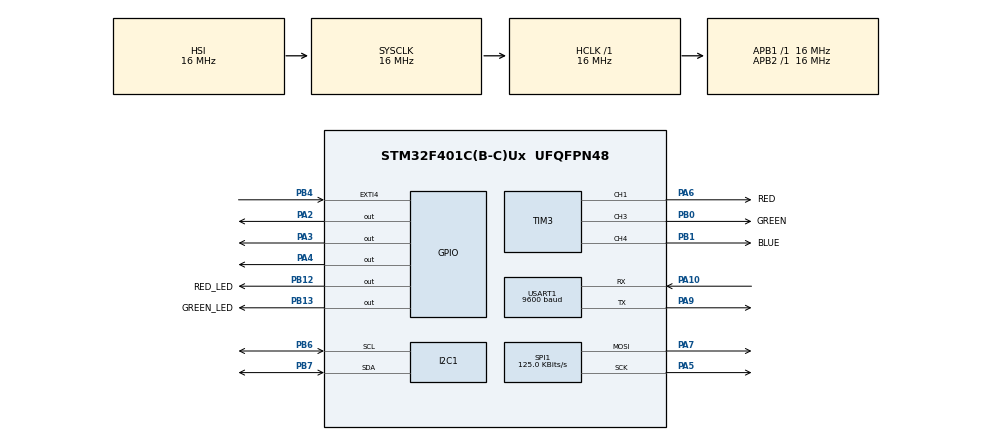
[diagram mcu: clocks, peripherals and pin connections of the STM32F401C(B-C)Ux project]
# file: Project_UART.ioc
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Dma.I2C1_RX.1.Direction=DMA_PERIPH_TO_MEMORY
Dma.I2C1_RX.1.FIFOMode=DMA_FIFOMODE_DISABLE
Dma.I2C1_RX.1.Instance=DMA1_Stream0
Dma.I2C1_RX.1.MemDataAlignment=DMA_MDATAALIGN_BYTE
Dma.I2C1_RX.1.MemInc=DMA_MINC_ENABLE
Dma.I2C1_RX.1.Mode=DMA_NORMAL
Dma.I2C1_RX.1.PeriphDataAlignment=DMA_PDATAALIGN_BYTE
Dma.I2C1_RX.1.PeriphInc=DMA_PINC_DISABLE
Dma.I2C1_RX.1.Priority=DMA_PRIORITY_LOW
Dma.Request0=USART1_RX
Dma.Request1=I2C1_RX
Dma.USART1_RX.0.Direction=DMA_PERIPH_TO_MEMORY
Dma.USART1_RX.0.FIFOMode=DMA_FIFOMODE_DISABLE
Dma.USART1_RX.0.Instance=DMA2_Stream2
Dma.USART1_RX.0.MemDataAlignment=DMA_MDATAALIGN_BYTE
Dma.USART1_RX.0.MemInc=DMA_MINC_ENABLE
Dma.USART1_RX.0.Mode=DMA_NORMAL
Dma.USART1_RX.0.PeriphDataAlignment=DMA_PDATAALIGN_BYTE
Dma.USART1_RX.0.PeriphInc=DMA_PINC_DISABLE
Dma.USART1_RX.0.Priority=DMA_PRIORITY_LOW
Mcu.Family=STM32F4
Mcu.Name=STM32F401C(B-C)Ux
Mcu.Package=UFQFPN48
NVIC.DMA1_Stream0_IRQn=true\:0\:0\:false\:false\:true\:false\:true\:true
NVIC.DMA2_Stream2_IRQn=true\:0\:0\:false\:false\:true\:false\:true\:true
NVIC.EXTI4_IRQn=true\:0\:0\:false\:false\:true\:true\:true\:true
NVIC.I2C1_ER_IRQn=true\:0\:0\:false\:false\:true\:true\:true\:true
NVIC.I2C1_EV_IRQn=true\:0\:0\:false\:false\:true\:true\:true\:true
NVIC.PriorityGroup=NVIC_PRIORITYGROUP_4
NVIC.TIM4_IRQn=true\:0\:0\:false\:false\:true\:true\:true\:true
NVIC.USART1_IRQn=true\:0\:0\:false\:false\:true\:true\:true\:true
PA10.Mode=Asynchronous
PA10.Signal=USART1_RX
PA13.Mode=Serial_Wire
PA13.Signal=SYS_JTMS-SWDIO
PA14.Mode=Serial_Wire
PA14.Signal=SYS_JTCK-SWCLK
PA2.Signal=GPIO_Output
PA3.Signal=GPIO_Output
PA4.GPIO_PuPd=GPIO_NOPULL
PA4.Signal=GPIO_Output
PA5.Mode=TX_Only_Simplex_Unidirect_Master
PA5.Signal=SPI1_SCK
PA6.GPIO_Label=RED
PA6.Signal=S_TIM3_CH1
PA7.Mode=TX_Only_Simplex_Unidirect_Master
PA7.Signal=SPI1_MOSI
PA9.Mode=Asynchronous
PA9.Signal=USART1_TX
PB0.GPIO_Label=GREEN
PB0.Signal=S_TIM3_CH3
PB1.GPIO_Label=BLUE
PB1.Signal=S_TIM3_CH4
PB12.GPIO_Label=RED_LED
PB12.Signal=GPIO_Output
PB13.GPIO_Label=GREEN_LED
PB13.Signal=GPIO_Output
PB4.GPIO_ModeDefaultEXTI=GPIO_MODE_IT_FALLING
PB4.GPIO_PuPd=GPIO_PULLUP
PB4.Signal=GPXTI4
PB6.Mode=I2C
PB6.Signal=I2C1_SCL
PB7.Mode=I2C
PB7.Signal=I2C1_SDA
ProjectManager.HeapSize=0x200
ProjectManager.StackSize=0x400
ProjectManager.TargetToolchain=CMake
RCC.AHBFreq_Value=16000000
RCC.APB1Freq_Value=16000000
RCC.APB2Freq_Value=16000000
RCC.CortexFreq_Value=16000000
RCC.HSE_VALUE=25000000
RCC.HSI_VALUE=16000000
RCC.LSE_VALUE=32768
RCC.SYSCLKFreq_VALUE=16000000
RCC.VCOOutputFreq_Value=192000000
SH.S_TIM3_CH1.0=TIM3_CH1,PWM Generation1 CH1
SH.S_TIM3_CH3.0=TIM3_CH3,PWM Generation3 CH3
SH.S_TIM3_CH4.0=TIM3_CH4,PWM Generation4 CH4
SPI1.BaudRatePrescaler=SPI_BAUDRATEPRESCALER_128
SPI1.CLKPhase=SPI_PHASE_1EDGE
SPI1.CalculateBaudRate=125.0 KBits/s
SPI1.Direction=SPI_DIRECTION_2LINES
SPI1.Mode=SPI_MODE_MASTER
SPI1.VirtualType=VM_MASTER
TIM3.Channel-PWM\ Generation1\ CH1=TIM_CHANNEL_1
TIM3.Channel-PWM\ Generation3\ CH3=TIM_CHANNEL_3
TIM3.Channel-PWM\ Generation4\ CH4=TIM_CHANNEL_4
TIM4.Period=200
TIM4.Prescaler=8399
USART1.BaudRate=9600
USART1.VirtualMode=VM_ASYNC
VP_TIM3_VS_ClockSourceINT.Mode=Internal
VP_TIM4_VS_ClockSourceINT.Mode=Internal
board=custom

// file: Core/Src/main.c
/* USER CODE BEGIN Header */
/**
  ******************************************************************************
  * @file           : main.c
  * @brief          : Main program body
  ******************************************************************************
  * @attention
  *
  * Copyright (c) 2026 STMicroelectronics.
  * All rights reserved.
  *
  * This software is licensed under terms that can be found in the LICENSE file
  * in the root directory of this software component.
  * If no LICENSE file comes with this software, it is provided AS-IS.
  *
  ******************************************************************************
  */
/* USER CODE END Header */
#include "main.h"

/* USER CODE BEGIN Includes */
#include <stdio.h>
#include <string.h>

#include "u8g2.h"
#include "OLED_animations.h"
#include "bmp180.h"
/* USER CODE END Includes */

I2C_HandleTypeDef hi2c1;
DMA_HandleTypeDef hdma_i2c1_rx;

SPI_HandleTypeDef hspi1;

TIM_HandleTypeDef htim3;
TIM_HandleTypeDef htim4;

UART_HandleTypeDef huart1;
DMA_HandleTypeDef hdma_usart1_rx;

/* USER CODE BEGIN PV */
u8g2_t u8g2;
BMP180_t bmp180;

char rx_data[32];
/* USER CODE END PV */

void SystemClock_Config(void);
static void MX_GPIO_Init(void);
static void MX_DMA_Init(void);
static void MX_SPI1_Init(void);
static void MX_USART1_UART_Init(void);
static void MX_TIM3_Init(void);
static void MX_TIM4_Init(void);
static void MX_I2C1_Init(void);
/* USER CODE BEGIN PFP */
uint8_t u8x8_byte_stm32_hw_spi(u8x8_t *u8x8, uint8_t msg, uint8_t arg_int, void *arg_ptr);
uint8_t u8x8_gpio_and_delay_stm32(u8x8_t *u8x8, uint8_t msg, uint8_t arg_int, void *arg_ptr);
/* USER CODE END PFP */

/* USER CODE BEGIN 0 */
uint8_t button_locked = 0;
int8_t heart_scale = 2;
int8_t what_to_draw = 1;
uint32_t last_oled_tick = 0;
uint32_t last_led_tick = 0;
uint32_t red_pwm_val = 0;
uint32_t green_pwm_val = 0;
uint32_t blue_pwm_val = 0;
uint32_t last_bmp_read = 0;

uint8_t last_rx_byte = 0;
uint16_t last_rx_size = 0;

char custom_text[32] = "STM32F401CCU6!";
int color = 0; /// R = 0; G = 1; B = 2
/* USER CODE END 0 */

int main(void)
{

  /* MCU Configuration--------------------------------------------------------*/

  /* Reset of all peripherals, Initializes the Flash interface and the Systick. */
  HAL_Init();

  /* Configure the system clock */
  SystemClock_Config();

  /* Initialize all configured peripherals */
  MX_GPIO_Init();
  MX_DMA_Init();
  MX_SPI1_Init();
  MX_USART1_UART_Init();
  MX_TIM3_Init();
  MX_TIM4_Init();
  MX_I2C1_Init();
  /* USER CODE BEGIN 2 */

  HAL_TIM_PWM_Start(&htim3, TIM_CHANNEL_1); // Red
  HAL_TIM_PWM_Start(&htim3, TIM_CHANNEL_3); // Green
  HAL_TIM_PWM_Start(&htim3, TIM_CHANNEL_4); // Blue

  if (BMP180_Init(&bmp180, &hi2c1, 101600) != 0)
  {
    Error_Handler();
  }

  HAL_GPIO_WritePin(GPIOA, GPIO_PIN_2, GPIO_PIN_RESET);
  HAL_Delay(100);
  HAL_GPIO_WritePin(GPIOA, GPIO_PIN_2, GPIO_PIN_SET);
  HAL_Delay(100);

  u8g2_Setup_ssd1306_128x64_noname_f(&u8g2, U8G2_R0, u8x8_byte_stm32_hw_spi, u8x8_gpio_and_delay_stm32);
  u8g2_InitDisplay(&u8g2);
  u8g2_SetPowerSave(&u8g2, 0);

  HAL_GPIO_WritePin(GREEN_LED_GPIO_Port, GREEN_LED_Pin, GPIO_PIN_SET); // GREEN = 1

  /* USER CODE END 2 */

  /* Infinite loop */
  while (1)
  {

    /* USER CODE BEGIN 3 */

    if (__HAL_UART_GET_FLAG(&huart1, UART_FLAG_RXNE) != RESET)
    {
      uint8_t cmd;
      if (HAL_UART_Receive(&huart1, &cmd, 1, 10) == HAL_OK)
      {
        last_rx_byte = cmd; // Зберігаємо для відображення на екрані

        // Парсинг команд
        if (cmd == 'H') {
          what_to_draw = 1;
          HAL_GPIO_TogglePin(RED_LED_GPIO_Port, RED_LED_Pin);
          HAL_GPIO_TogglePin(GREEN_LED_GPIO_Port, GREEN_LED_Pin);
        }
        else if (cmd == 'S') {
          what_to_draw = 0;
          HAL_GPIO_TogglePin(RED_LED_GPIO_Port, RED_LED_Pin);
          HAL_GPIO_TogglePin(GREEN_LED_GPIO_Port, GREEN_LED_Pin);
        }
        else if (cmd == 'G')
        {
          char buffer[32];
          char error[] = "Error\n";
          int temp_int = (int)bmp180.temperature;
          int temp_frac = (int)((bmp180.temperature - temp_int) * 10);
          uint32_t mm_Hg = (uint32_t)(bmp180.pressure * 0.00750063755419211);

          int ret = snprintf(buffer, sizeof buffer, "T;%d.%d;P#%lu#\n", temp_int, temp_frac, mm_Hg);
          if (ret < 0 || ret >= sizeof buffer)
          {
            HAL_UART_Transmit(&huart1, (uint8_t *)error, sizeof(error) - 1, 100);
          }
          else
          {
            HAL_UART_Transmit(&huart1, (uint8_t *)buffer, ret, 100);
          }
        }
        else if (cmd == 'C')
        {
          memset(custom_text, 0, sizeof(custom_text));
          uint8_t idx = 0;
          uint32_t start_time = HAL_GetTick();
          while (idx < 31 && (HAL_GetTick() - start_time < 100))
          {
            if (__HAL_UART_GET_FLAG(&huart1, UART_FLAG_RXNE) != RESET)
            {
              uint8_t ch;
              HAL_UART_Receive(&huart1, &ch, 1, 10);

              if (ch == '\n') break;
              custom_text[idx++] = ch;
            }
          }

          u8g2_SetFont(&u8g2, u8g2_font_ncenB08_tr);
          uint16_t text_width = u8g2_GetStrWidth(&u8g2, custom_text);

          if (text_width > 124) {
            uint8_t error_msg = 'E';
            HAL_UART_Transmit(&huart1, &error_msg, 1, 10);

            memset(custom_text, 0, sizeof(custom_text));
            strcpy(custom_text, "Error: Too long!");
          } else {
            uint8_t ok_msg = 'K';
            HAL_UART_Transmit(&huart1, &ok_msg, 1, 10);
          }
        } else if (cmd == 'R') // Red
        {
          color = 0;
          green_pwm_val = 0; blue_pwm_val = 0;

        }
        else if (cmd == 'L') // Green
        {
          color = 1;
          red_pwm_val = 0; blue_pwm_val = 0;

        }
        else if (cmd == 'B') // Blue
        {
          color = 2;
          red_pwm_val = 0; green_pwm_val = 0;
        }
      }

    }

    uint32_t current_tick = HAL_GetTick();
    if (current_tick - last_oled_tick >= 500)
    {
      u8g2_ClearBuffer(&u8g2);
      last_oled_tick = current_tick;

      u8g2_SetFont(&u8g2, u8g2_font_ncenB08_tr);
      u8g2_DrawStr(&u8g2, 2, 12, custom_text);
      u8g2_DrawLine(&u8g2, 0, 15, 128, 15); // Горизонтальна лінія)
      u8g2_DrawLine(&u8g2, 0, 16, 128, 16); // Горизонтальна лінія)
      u8g2_DrawFrame(&u8g2, 0, 0, 128, 64); // Рамка по периметру
      if (what_to_draw == 0)
      {
        drawTP(&u8g2, 2, 28, 2, 40,2,52, &bmp180);
      }else if (what_to_draw == 1)
      {
        drawScaledHeart(&u8g2, (128/2) - 7 * heart_scale , 20, heart_scale);
        heart_scale = heart_scale == 2 ? 3 : 2;
      }

      u8g2_SendBuffer(&u8g2);
    }

    if (current_tick - last_led_tick >= 5)
    {
      last_led_tick = current_tick;
      if (color == 0)
      {
        red_pwm_val += 500;
        if (red_pwm_val >= 65535) red_pwm_val = 0;
        __HAL_TIM_SET_COMPARE(&htim3, TIM_CHANNEL_1, red_pwm_val); // Канал 1
      }
      else if (color == 1)
      {
        green_pwm_val += 500;
        if (green_pwm_val >= 65535) green_pwm_val = 0;
        __HAL_TIM_SET_COMPARE(&htim3, TIM_CHANNEL_3, green_pwm_val);
      }
      else if (color == 2)
      {
        blue_pwm_val += 500;
        if (blue_pwm_val >= 65535) blue_pwm_val = 0;
        __HAL_TIM_SET_COMPARE(&htim3, TIM_CHANNEL_4, blue_pwm_val);
      }

    }

    //constant sensors data update
    if (bmp180.state == BMP180_IDLE && (current_tick - last_bmp_read >= 500))
    {
      bmp180.current_oss = 3;
      bmp180.state = BMP180_START_TEMP;
    }

    BMP180_Get_Data_Asyc(&bmp180);

    if (bmp180.state == BMP180_DATA_READY)
    {
      bmp180.state = BMP180_IDLE;
      last_bmp_read = HAL_GetTick();
    }

  }
  /* USER CODE END 3 */
}

void SystemClock_Config(void)
{
  RCC_OscInitTypeDef RCC_OscInitStruct = {0};
  RCC_ClkInitTypeDef RCC_ClkInitStruct = {0};

  /** Configure the main internal regulator output voltage
  */
  __HAL_RCC_PWR_CLK_ENABLE();
  __HAL_PWR_VOLTAGESCALING_CONFIG(PWR_REGULATOR_VOLTAGE_SCALE2);

  /** Initializes the RCC Oscillators according to the specified parameters
  * in the RCC_OscInitTypeDef structure.
  */
  RCC_OscInitStruct.OscillatorType = RCC_OSCILLATORTYPE_HSI;
  RCC_OscInitStruct.HSIState = RCC_HSI_ON;
  RCC_OscInitStruct.HSICalibrationValue = RCC_HSICALIBRATION_DEFAULT;
  RCC_OscInitStruct.PLL.PLLState = RCC_PLL_NONE;
  if (HAL_RCC_OscConfig(&RCC_OscInitStruct) != HAL_OK)
  {
    Error_Handler();
  }

  /** Initializes the CPU, AHB and APB buses clocks
  */
  RCC_ClkInitStruct.ClockType = RCC_CLOCKTYPE_HCLK|RCC_CLOCKTYPE_SYSCLK
                              |RCC_CLOCKTYPE_PCLK1|RCC_CLOCKTYPE_PCLK2;
  RCC_ClkInitStruct.SYSCLKSource = RCC_SYSCLKSOURCE_HSI;
  RCC_ClkInitStruct.AHBCLKDivider = RCC_SYSCLK_DIV1;
  RCC_ClkInitStruct.APB1CLKDivider = RCC_HCLK_DIV1;
  RCC_ClkInitStruct.APB2CLKDivider = RCC_HCLK_DIV1;

  if (HAL_RCC_ClockConfig(&RCC_ClkInitStruct, FLASH_LATENCY_0) != HAL_OK)
  {
    Error_Handler();
  }
}

static void MX_I2C1_Init(void)
{

  hi2c1.Instance = I2C1;
  hi2c1.Init.ClockSpeed = 100000;
  hi2c1.Init.DutyCycle = I2C_DUTYCYCLE_2;
  hi2c1.Init.OwnAddress1 = 0;
  hi2c1.Init.AddressingMode = I2C_ADDRESSINGMODE_7BIT;
  hi2c1.Init.DualAddressMode = I2C_DUALADDRESS_DISABLE;
  hi2c1.Init.OwnAddress2 = 0;
  hi2c1.Init.GeneralCallMode = I2C_GENERALCALL_DISABLE;
  hi2c1.Init.NoStretchMode = I2C_NOSTRETCH_DISABLE;
  if (HAL_I2C_Init(&hi2c1) != HAL_OK)
  {
    Error_Handler();
  }

}

static void MX_SPI1_Init(void)
{

  /* SPI1 parameter configuration*/
  hspi1.Instance = SPI1;
  hspi1.Init.Mode = SPI_MODE_MASTER;
  hspi1.Init.Direction = SPI_DIRECTION_2LINES;
  hspi1.Init.DataSize = SPI_DATASIZE_8BIT;
  hspi1.Init.CLKPolarity = SPI_POLARITY_LOW;
  hspi1.Init.CLKPhase = SPI_PHASE_1EDGE;
  hspi1.Init.NSS = SPI_NSS_SOFT;
  hspi1.Init.BaudRatePrescaler = SPI_BAUDRATEPRESCALER_128;
  hspi1.Init.FirstBit = SPI_FIRSTBIT_MSB;
  hspi1.Init.TIMode = SPI_TIMODE_DISABLE;
  hspi1.Init.CRCCalculation = SPI_CRCCALCULATION_DISABLE;
  hspi1.Init.CRCPolynomial = 10;
  if (HAL_SPI_Init(&hspi1) != HAL_OK)
  {
    Error_Handler();
  }

}

static void MX_TIM3_Init(void)
{

  TIM_ClockConfigTypeDef sClockSourceConfig = {0};
  TIM_MasterConfigTypeDef sMasterConfig = {0};
  TIM_OC_InitTypeDef sConfigOC = {0};

  htim3.Instance = TIM3;
  htim3.Init.Prescaler = 0;
  htim3.Init.CounterMode = TIM_COUNTERMODE_UP;
  htim3.Init.Period = 65535;
  htim3.Init.ClockDivision = TIM_CLOCKDIVISION_DIV1;
  htim3.Init.AutoReloadPreload = TIM_AUTORELOAD_PRELOAD_DISABLE;
  if (HAL_TIM_Base_Init(&htim3) != HAL_OK)
  {
    Error_Handler();
  }
  sClockSourceConfig.ClockSource = TIM_CLOCKSOURCE_INTERNAL;
  if (HAL_TIM_ConfigClockSource(&htim3, &sClockSourceConfig) != HAL_OK)
  {
    Error_Handler();
  }
  if (HAL_TIM_PWM_Init(&htim3) != HAL_OK)
  {
    Error_Handler();
  }
  sMasterConfig.MasterOutputTrigger = TIM_TRGO_RESET;
  sMasterConfig.MasterSlaveMode = TIM_MASTERSLAVEMODE_DISABLE;
  if (HAL_TIMEx_MasterConfigSynchronization(&htim3, &sMasterConfig) != HAL_OK)
  {
    Error_Handler();
  }
  sConfigOC.OCMode = TIM_OCMODE_PWM1;
  sConfigOC.Pulse = 0;
  sConfigOC.OCPolarity = TIM_OCPOLARITY_HIGH;
  sConfigOC.OCFastMode = TIM_OCFAST_DISABLE;
  if (HAL_TIM_PWM_ConfigChannel(&htim3, &sConfigOC, TIM_CHANNEL_1) != HAL_OK)
  {
    Error_Handler();
  }
  if (HAL_TIM_PWM_ConfigChannel(&htim3, &sConfigOC, TIM_CHANNEL_3) != HAL_OK)
  {
    Error_Handler();
  }
  if (HAL_TIM_PWM_ConfigChannel(&htim3, &sConfigOC, TIM_CHANNEL_4) != HAL_OK)
  {
    Error_Handler();
  }
  HAL_TIM_MspPostInit(&htim3);

}

static void MX_TIM4_Init(void)
{

  TIM_ClockConfigTypeDef sClockSourceConfig = {0};
  TIM_MasterConfigTypeDef sMasterConfig = {0};

  htim4.Instance = TIM4;
  htim4.Init.Prescaler = 8399;
  htim4.Init.CounterMode = TIM_COUNTERMODE_UP;
  htim4.Init.Period = 200;
  htim4.Init.ClockDivision = TIM_CLOCKDIVISION_DIV1;
  htim4.Init.AutoReloadPreload = TIM_AUTORELOAD_PRELOAD_DISABLE;
  if (HAL_TIM_Base_Init(&htim4) != HAL_OK)
  {
    Error_Handler();
  }
  sClockSourceConfig.ClockSource = TIM_CLOCKSOURCE_INTERNAL;
  if (HAL_TIM_ConfigClockSource(&htim4, &sClockSourceConfig) != HAL_OK)
  {
    Error_Handler();
  }
  sMasterConfig.MasterOutputTrigger = TIM_TRGO_RESET;
  sMasterConfig.MasterSlaveMode = TIM_MASTERSLAVEMODE_DISABLE;
  if (HAL_TIMEx_MasterConfigSynchronization(&htim4, &sMasterConfig) != HAL_OK)
  {
    Error_Handler();
  }

}

static void MX_USART1_UART_Init(void)
{

  huart1.Instance = USART1;
  huart1.Init.BaudRate = 9600;
  huart1.Init.WordLength = UART_WORDLENGTH_8B;
  huart1.Init.StopBits = UART_STOPBITS_1;
  huart1.Init.Parity = UART_PARITY_NONE;
  huart1.Init.Mode = UART_MODE_TX_RX;
  huart1.Init.HwFlowCtl = UART_HWCONTROL_NONE;
  huart1.Init.OverSampling = UART_OVERSAMPLING_16;
  if (HAL_UART_Init(&huart1) != HAL_OK)
  {
    Error_Handler();
  }

}

static void MX_DMA_Init(void)
{

  /* DMA controller clock enable */
  __HAL_RCC_DMA2_CLK_ENABLE();
  __HAL_RCC_DMA1_CLK_ENABLE();

  /* DMA interrupt init */
  /* DMA1_Stream0_IRQn interrupt configuration */
  HAL_NVIC_SetPriority(DMA1_Stream0_IRQn, 0, 0);
  HAL_NVIC_EnableIRQ(DMA1_Stream0_IRQn);
  /* DMA2_Stream2_IRQn interrupt configuration */
  HAL_NVIC_SetPriority(DMA2_Stream2_IRQn, 0, 0);
  HAL_NVIC_EnableIRQ(DMA2_Stream2_IRQn);

}

static void MX_GPIO_Init(void)
{
  GPIO_InitTypeDef GPIO_InitStruct = {0};

  /* GPIO Ports Clock Enable */
  __HAL_RCC_GPIOA_CLK_ENABLE();
  __HAL_RCC_GPIOB_CLK_ENABLE();

  /*Configure GPIO pin Output Level */
  HAL_GPIO_WritePin(GPIOA, GPIO_PIN_2|GPIO_PIN_3|GPIO_PIN_4, GPIO_PIN_RESET);

  /*Configure GPIO pin Output Level */
  HAL_GPIO_WritePin(GPIOB, RED_LED_Pin|GREEN_LED_Pin, GPIO_PIN_RESET);

  /*Configure GPIO pins : PA2 PA3 PA4 */
  GPIO_InitStruct.Pin = GPIO_PIN_2|GPIO_PIN_3|GPIO_PIN_4;
  GPIO_InitStruct.Mode = GPIO_MODE_OUTPUT_PP;
  GPIO_InitStruct.Pull = GPIO_NOPULL;
  GPIO_InitStruct.Speed = GPIO_SPEED_FREQ_LOW;
  HAL_GPIO_Init(GPIOA, &GPIO_InitStruct);

  /*Configure GPIO pins : RED_LED_Pin GREEN_LED_Pin */
  GPIO_InitStruct.Pin = RED_LED_Pin|GREEN_LED_Pin;
  GPIO_InitStruct.Mode = GPIO_MODE_OUTPUT_PP;
  GPIO_InitStruct.Pull = GPIO_NOPULL;
  GPIO_InitStruct.Speed = GPIO_SPEED_FREQ_LOW;
  HAL_GPIO_Init(GPIOB, &GPIO_InitStruct);

  /*Configure GPIO pin : PB4 */
  GPIO_InitStruct.Pin = GPIO_PIN_4;
  GPIO_InitStruct.Mode = GPIO_MODE_IT_FALLING;
  GPIO_InitStruct.Pull = GPIO_PULLUP;
  HAL_GPIO_Init(GPIOB, &GPIO_InitStruct);

  /* EXTI interrupt init*/
  HAL_NVIC_SetPriority(EXTI4_IRQn, 0, 0);
  HAL_NVIC_EnableIRQ(EXTI4_IRQn);

}

/* USER CODE BEGIN 4 */

void HAL_GPIO_EXTI_Callback(uint16_t GPIO_Pin)
{
  if (GPIO_Pin == GPIO_PIN_4 && !button_locked)
  {
    button_locked = 1;
    HAL_TIM_Base_Start_IT(&htim4);
    what_to_draw = what_to_draw == 0 ? 1 : 0;

    HAL_GPIO_TogglePin(RED_LED_GPIO_Port, RED_LED_Pin);
    HAL_GPIO_TogglePin(GREEN_LED_GPIO_Port, GREEN_LED_Pin);

    // uint32_t current_blue = __HAL_TIM_GET_COMPARE(&htim3, TIM_CHANNEL_3);

  }
}

void HAL_TIM_PeriodElapsedCallback(TIM_HandleTypeDef *htim)
{
  if (htim->Instance == TIM4)
  {
    HAL_TIM_Base_Stop_IT(&htim4);
    button_locked = 0;
  }
}

void HAL_UARTEx_RxEventCallback(UART_HandleTypeDef *huart, uint16_t Size)
{
  if (huart->Instance == USART1)
  {
    last_rx_byte = rx_data[0];
    last_rx_size = Size;

    // Відправляємо назад (ехо)
    HAL_UART_Transmit(&huart1, (uint8_t *)rx_data, Size, 100);

    // ПЕРЕЗАПУСКАЄМО ПРИЙОМ ЧЕРЕЗ IT
    HAL_UARTEx_ReceiveToIdle_IT(&huart1, (uint8_t *)rx_data, 32);
  }
}

/* USER CODE END 4 */

void Error_Handler(void)
{
  __disable_irq();
  while (1)
  {
  }
}
